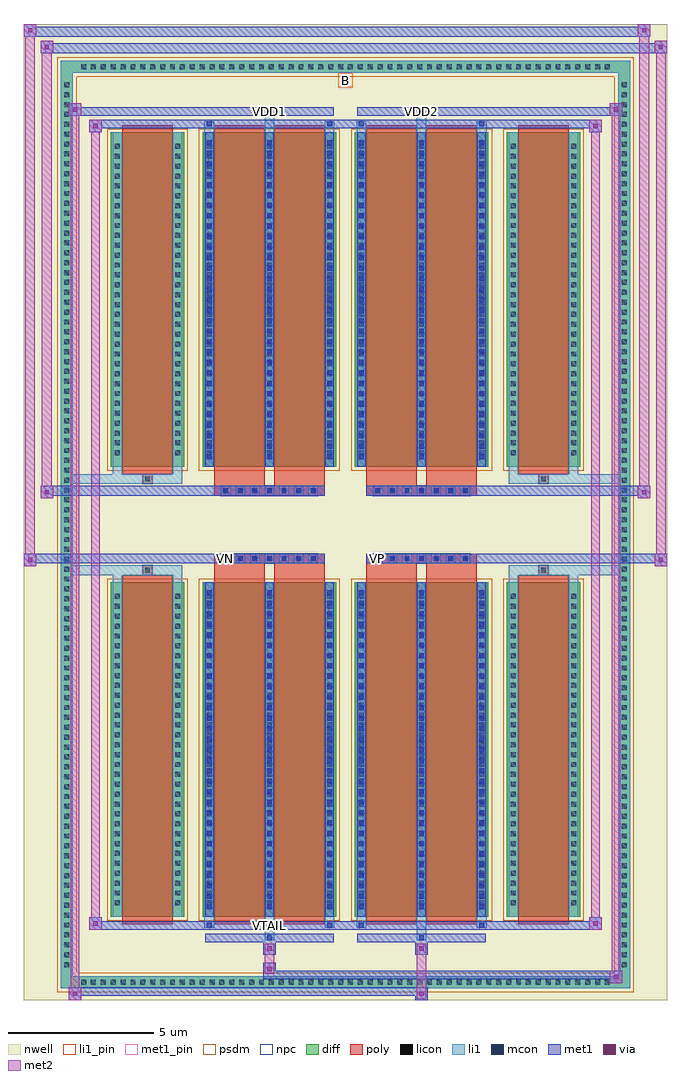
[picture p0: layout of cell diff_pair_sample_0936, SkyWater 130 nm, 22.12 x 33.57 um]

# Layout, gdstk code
import gdstk
lib = gdstk.Library(unit=1e-6, precision=5e-09)
def R(c, l, rs):  # rectangles x0, y0, x1, y1
    for r in rs: c.add(gdstk.rectangle(r[:2], r[2:], *l))
def A(c, l, x, y, w, h, nx, ny, dx, dy):  # array of equal rectangles
    R(c, l, [(x+i*dx, y+j*dy, x+i*dx+w, y+j*dy+h) for i in range(nx) for j in range(ny)])
def P(c, l, *ps):  # polygons
    for p in ps: c.add(gdstk.Polygon(p, *l))
nwell = (64, 20)
diff = (65, 20)
poly = (66, 20)
licon = (66, 44)
li1_pin = (67, 16)
li1 = (67, 20)
mcon = (67, 44)
met1_pin = (68, 16)
met1 = (68, 20)
via = (68, 44)
met2 = (69, 20)
psdm = (94, 20)
npc = (95, 20)

diff_pair_sample_0936 = lib.new_cell('diff_pair_sample_0936')
R(diff_pair_sample_0936, nwell, [(-11.06,-16.35,11.06,17.22), (-8.38,-14.54,-0.01,-0.8), (0.01,-14.54,8.38,-0.8), (-8.38,0.8,-0.01,14.54), (0.01,0.8,8.38,14.54)])
A(diff_pair_sample_0936, diff, -9.215, -15.95, 0.41, 0.41, 54, 2, 0.34, 31.49)
A(diff_pair_sample_0936, diff, -9.79, -15.335, 0.41, 0.41, 1, 90, 0, 0.34)
A(diff_pair_sample_0936, diff, 9.38, -15.335, 0.41, 0.41, 1, 90, 0, 0.34)
R(diff_pair_sample_0936, diff, [(-9.215,-15.95,9.215,-15.54), (-9.79,-15.335,-9.38,15.335), (9.38,-15.335,9.79,15.335), (-8.07,-13.495,-5.55,-1.985), (-4.91,-13.495,-0.32,-1.985), (0.32,-13.495,4.91,-1.985), (5.55,-13.495,8.07,-1.985), (-8.07,1.985,-5.55,13.495), (-4.91,1.985,-0.32,13.495), (0.32,1.985,4.91,13.495), (5.55,1.985,8.07,13.495), (-9.215,15.54,9.215,15.95)])
P(diff_pair_sample_0936, diff, [(9.79,15.95),(-9.79,15.95),(-9.79,-15.54),(-9.38,-15.54),(-9.38,15.54),(9.38,15.54),(9.38,-15.54),(-9.38,-15.54),(-9.79,-15.54),(-9.79,-15.95),(9.79,-15.95)])
A(diff_pair_sample_0936, poly, -4.28, -1.33, 0.33, 0.33, 7, 2, 0.5, 2.33)
A(diff_pair_sample_0936, poly, 0.95, -1.33, 0.33, 0.33, 7, 2, 0.5, 2.33)
R(diff_pair_sample_0936, poly, [(-7.68,-13.745,-5.94,-1.735), (-4.52,-13.745,-2.78,-1.735), (-2.45,-13.745,-0.71,-1.735), (0.71,-13.745,2.45,-1.735), (2.78,-13.745,4.52,-1.735), (5.94,-13.745,7.68,-1.735), (-6.975,-1.735,-6.645,-1.405), (-6.975,-1.735,-6.645,-1.405), (-4.52,-1.735,-2.78,-1.33), (-2.45,-1.735,-0.71,-1.33), (0.71,-1.735,2.45,-1.33), (2.78,-1.735,4.52,-1.33), (6.645,-1.735,6.975,-1.405), (6.645,-1.735,6.975,-1.405), (-4.52,-1.33,-0.71,-1), (0.71,-1.33,4.52,-1), (-4.52,1,-0.71,1.33), (0.71,1,4.52,1.33), (-4.52,1.33,-2.78,1.735), (-2.45,1.33,-0.71,1.735), (0.71,1.33,2.45,1.735), (2.78,1.33,4.52,1.735), (-6.975,1.405,-6.645,1.735), (-6.975,1.405,-6.645,1.735), (6.645,1.405,6.975,1.735), (6.645,1.405,6.975,1.735), (-7.68,1.735,-5.94,13.745), (-4.52,1.735,-2.78,13.745), (-2.45,1.735,-0.71,13.745), (0.71,1.735,2.45,13.745), (2.78,1.735,4.52,13.745), (5.94,1.735,7.68,13.745)])
A(diff_pair_sample_0936, licon, -9.095, -15.83, 0.17, 0.17, 54, 2, 0.34, 31.49)
A(diff_pair_sample_0936, licon, -9.67, -15.215, 0.17, 0.17, 1, 90, 0, 0.34)
A(diff_pair_sample_0936, licon, 9.5, -15.215, 0.17, 0.17, 1, 90, 0, 0.34)
A(diff_pair_sample_0936, licon, -7.93, -13.095, 0.17, 0.17, 1, 32, 0, 0.34)
A(diff_pair_sample_0936, licon, -5.86, -13.095, 0.17, 0.17, 1, 32, 0, 0.34)
A(diff_pair_sample_0936, licon, -4.77, -13.095, 0.17, 0.17, 3, 32, 2.07, 0.34)
A(diff_pair_sample_0936, licon, 0.46, -13.095, 0.17, 0.17, 3, 32, 2.07, 0.34)
A(diff_pair_sample_0936, licon, 5.69, -13.095, 0.17, 0.17, 1, 32, 0, 0.34)
A(diff_pair_sample_0936, licon, 7.76, -13.095, 0.17, 0.17, 1, 32, 0, 0.34)
A(diff_pair_sample_0936, licon, -4.2, -1.25, 0.17, 0.17, 7, 2, 0.5, 2.33)
A(diff_pair_sample_0936, licon, 1.03, -1.25, 0.17, 0.17, 7, 2, 0.5, 2.33)
A(diff_pair_sample_0936, licon, -7.93, 2.385, 0.17, 0.17, 1, 32, 0, 0.34)
A(diff_pair_sample_0936, licon, -5.86, 2.385, 0.17, 0.17, 1, 32, 0, 0.34)
A(diff_pair_sample_0936, licon, -4.77, 2.385, 0.17, 0.17, 3, 32, 2.07, 0.34)
A(diff_pair_sample_0936, licon, 0.46, 2.385, 0.17, 0.17, 3, 32, 2.07, 0.34)
A(diff_pair_sample_0936, licon, 5.69, 2.385, 0.17, 0.17, 1, 32, 0, 0.34)
A(diff_pair_sample_0936, licon, 7.76, 2.385, 0.17, 0.17, 1, 32, 0, 0.34)
R(diff_pair_sample_0936, licon, [(-6.895,-1.655,-6.725,-1.485), (6.725,-1.655,6.895,-1.485), (-6.895,1.485,-6.725,1.655), (6.725,1.485,6.895,1.655)])
R(diff_pair_sample_0936, li1_pin, [(-0.25,15.04,0.25,15.54)])
A(diff_pair_sample_0936, li1, -9.175, -15.91, 0.33, 0.33, 54, 2, 0.34, 31.49)
A(diff_pair_sample_0936, li1, -9.75, -15.295, 0.33, 0.33, 1, 90, 0, 0.34)
A(diff_pair_sample_0936, li1, 9.42, -15.295, 0.33, 0.33, 1, 90, 0, 0.34)
A(diff_pair_sample_0936, li1, -4.85, -13.495, 0.33, 11.51, 3, 2, 2.07, 15.48)
A(diff_pair_sample_0936, li1, 0.38, -13.495, 0.33, 11.51, 3, 2, 2.07, 15.48)
A(diff_pair_sample_0936, li1, -4.77, -13.225, 0.17, 0.17, 3, 31, 2.07, 0.36)
A(diff_pair_sample_0936, li1, -4.77, -13.225, 0.17, 10.97, 3, 2, 2.07, 15.48)
A(diff_pair_sample_0936, li1, 0.46, -13.225, 0.17, 0.17, 3, 31, 2.07, 0.36)
A(diff_pair_sample_0936, li1, 0.46, -13.225, 0.17, 10.97, 3, 2, 2.07, 15.48)
A(diff_pair_sample_0936, li1, -8.01, -13.175, 0.33, 0.33, 1, 32, 0, 0.34)
A(diff_pair_sample_0936, li1, -5.94, -13.175, 0.33, 0.33, 1, 32, 0, 0.34)
A(diff_pair_sample_0936, li1, -4.85, -13.175, 0.33, 0.33, 3, 32, 2.07, 0.34)
A(diff_pair_sample_0936, li1, 0.38, -13.175, 0.33, 0.33, 3, 32, 2.07, 0.34)
A(diff_pair_sample_0936, li1, 5.61, -13.175, 0.33, 0.33, 1, 32, 0, 0.34)
A(diff_pair_sample_0936, li1, 7.68, -13.175, 0.33, 0.33, 1, 32, 0, 0.34)
A(diff_pair_sample_0936, li1, -4.28, -1.33, 0.33, 0.33, 7, 2, 0.5, 2.33)
A(diff_pair_sample_0936, li1, 0.95, -1.33, 0.33, 0.33, 7, 2, 0.5, 2.33)
A(diff_pair_sample_0936, li1, -4.77, 2.255, 0.17, 0.17, 3, 31, 2.07, 0.36)
A(diff_pair_sample_0936, li1, 0.46, 2.255, 0.17, 0.17, 3, 31, 2.07, 0.36)
A(diff_pair_sample_0936, li1, -8.01, 2.305, 0.33, 0.33, 1, 32, 0, 0.34)
A(diff_pair_sample_0936, li1, -5.94, 2.305, 0.33, 0.33, 1, 32, 0, 0.34)
A(diff_pair_sample_0936, li1, -4.85, 2.305, 0.33, 0.33, 3, 32, 2.07, 0.34)
A(diff_pair_sample_0936, li1, 0.38, 2.305, 0.33, 0.33, 3, 32, 2.07, 0.34)
A(diff_pair_sample_0936, li1, 5.61, 2.305, 0.33, 0.33, 1, 32, 0, 0.34)
A(diff_pair_sample_0936, li1, 7.68, 2.305, 0.33, 0.33, 1, 32, 0, 0.34)
R(diff_pair_sample_0936, li1, [(-9.79,-15.95,-9.38,-15.54), (-9.79,-15.95,-9.38,-15.54), (-9.38,-15.95,9.38,-15.54), (9.38,-15.95,9.79,-15.54), (9.38,-15.95,9.79,-15.54), (-9.79,-15.54,-9.38,15.54), (9.38,-15.54,9.79,15.54), (-2.78,-14.3,-2.45,-13.495), (-2.7,-14.3,-2.53,-14.13), (2.45,-14.3,2.78,-13.495), (2.53,-14.3,2.7,-14.13), (-4.85,-13.87,-4.52,-13.495), (-4.77,-13.87,-4.6,-13.7), (-0.71,-13.87,-0.38,-13.495), (-0.63,-13.87,-0.46,-13.7), (0.38,-13.87,0.71,-13.495), (0.46,-13.87,0.63,-13.7), (4.52,-13.87,4.85,-13.495), (4.6,-13.87,4.77,-13.7), (-8.01,-13.495,-7.68,-1.985), (-5.94,-13.495,-5.61,-1.985), (5.61,-13.495,5.94,-1.985), (7.68,-13.495,8.01,-1.985), (-8.01,-1.985,-7.68,-1.405), (-5.94,-1.985,-5.61,-1.405), (5.61,-1.985,5.94,-1.405), (7.68,-1.985,8.01,-1.405), (-9.79,-1.735,-6.975,-1.405), (-8.01,-1.735,-6.975,-1.405), (-6.975,-1.735,-6.645,-1.405), (-6.645,-1.735,-5.61,-1.405), (5.61,-1.735,6.645,-1.405), (6.645,-1.735,6.975,-1.405), (6.645,-1.735,9.79,-1.405), (6.975,-1.735,8.01,-1.405), (-9.79,1.405,-6.975,1.735), (-8.01,1.405,-6.975,1.735), (-8.01,1.405,-7.68,1.985), (-6.975,1.405,-6.645,1.735), (-6.645,1.405,-5.61,1.735), (-5.94,1.405,-5.61,1.985), (5.61,1.405,6.645,1.735), (5.61,1.405,5.94,1.985), (6.645,1.405,6.975,1.735), (6.645,1.405,9.79,1.735), (6.975,1.405,8.01,1.735), (7.68,1.405,8.01,1.985), (-8.01,1.985,-7.68,13.495), (-5.94,1.985,-5.61,13.495), (5.61,1.985,5.94,13.495), (7.68,1.985,8.01,13.495), (-4.85,13.495,-4.52,13.87), (-2.78,13.495,-2.45,14.3), (-0.71,13.495,-0.38,13.87), (0.38,13.495,0.71,13.87), (2.45,13.495,2.78,14.3), (4.52,13.495,4.85,13.87), (-4.77,13.7,-4.6,13.87), (-0.63,13.7,-0.46,13.87), (0.46,13.7,0.63,13.87), (4.6,13.7,4.77,13.87), (-2.7,14.13,-2.53,14.3), (2.53,14.13,2.7,14.3), (-9.79,15.54,-9.38,15.95), (-9.79,15.54,-9.38,15.95), (-9.38,15.54,9.38,15.95), (9.38,15.54,9.79,15.95), (9.38,15.54,9.79,15.95)])
A(diff_pair_sample_0936, mcon, -4.77, -13.225, 0.17, 0.17, 3, 31, 2.07, 0.36)
A(diff_pair_sample_0936, mcon, 0.46, -13.225, 0.17, 0.17, 3, 31, 2.07, 0.36)
A(diff_pair_sample_0936, mcon, -4.2, -1.25, 0.17, 0.17, 7, 2, 0.5, 2.33)
A(diff_pair_sample_0936, mcon, 1.03, -1.25, 0.17, 0.17, 7, 2, 0.5, 2.33)
A(diff_pair_sample_0936, mcon, -4.77, 2.255, 0.17, 0.17, 3, 31, 2.07, 0.36)
A(diff_pair_sample_0936, mcon, 0.46, 2.255, 0.17, 0.17, 3, 31, 2.07, 0.36)
R(diff_pair_sample_0936, mcon, [(-2.7,-14.3,-2.53,-14.13), (2.53,-14.3,2.7,-14.13), (-4.77,-13.87,-4.6,-13.7), (-0.63,-13.87,-0.46,-13.7), (0.46,-13.87,0.63,-13.7), (4.6,-13.87,4.77,-13.7), (-4.77,13.7,-4.6,13.87), (-0.63,13.7,-0.46,13.87), (0.46,13.7,0.63,13.87), (4.6,13.7,4.77,13.87), (-2.7,14.13,-2.53,14.3), (2.53,14.13,2.7,14.3)])
R(diff_pair_sample_0936, met1_pin, [(-2.75,-13.91,-2.48,-13.64), (-4.25,-1.29,-3.98,-1.02), (0.98,-1.29,1.25,-1.02), (-2.75,14.09,-2.48,14.36), (2.48,14.09,2.75,14.36)])
A(diff_pair_sample_0936, met1, -4.83, -13.495, 0.29, 11.51, 3, 2, 2.07, 15.48)
A(diff_pair_sample_0936, met1, 0.4, -13.495, 0.29, 11.51, 3, 2, 2.07, 15.48)
A(diff_pair_sample_0936, met1, -4.83, -13.285, 0.29, 0.29, 3, 31, 2.07, 0.36)
A(diff_pair_sample_0936, met1, 0.4, -13.285, 0.29, 0.29, 3, 31, 2.07, 0.36)
A(diff_pair_sample_0936, met1, -4.26, -1.31, 0.29, 0.29, 7, 2, 0.5, 2.33)
A(diff_pair_sample_0936, met1, 0.97, -1.31, 0.29, 0.29, 7, 2, 0.5, 2.33)
A(diff_pair_sample_0936, met1, -4.83, 2.195, 0.29, 0.29, 3, 31, 2.07, 0.36)
A(diff_pair_sample_0936, met1, 0.4, 2.195, 0.29, 0.29, 3, 31, 2.07, 0.36)
R(diff_pair_sample_0936, met1, [(-9.52,-16.35,-9.09,-15.92), (2.4,-16.35,2.83,-15.92), (-9.52,-16.21,2.83,-15.92), (9.09,-15.78,9.52,-15.35), (-2.83,-15.64,9.52,-15.35), (-2.83,-15.5,-2.4,-15.07), (-2.83,-14.79,-2.4,-14.36), (2.4,-14.79,2.83,-14.36), (-4.83,-14.36,-0.4,-14.07), (-2.76,-14.36,-2.47,-14.07), (0.4,-14.36,4.83,-14.07), (2.47,-14.36,2.76,-14.07), (-8.81,-13.93,-8.38,-13.5), (-8.81,-13.93,-4.83,-13.64), (-4.83,-13.93,-4.54,-13.64), (-4.83,-13.93,-0.4,-13.64), (-0.69,-13.93,-0.4,-13.64), (-0.4,-13.93,0.4,-13.64), (0.4,-13.93,0.69,-13.64), (0.4,-13.93,4.83,-13.64), (4.54,-13.93,4.83,-13.64), (4.83,-13.93,8.81,-13.64), (8.38,-13.93,8.81,-13.5), (-11.06,-1.43,-10.63,-1), (10.63,-1.43,11.06,-1), (-11.06,-1.33,-0.71,-1), (-4.52,-1.33,-0.71,-1), (0.71,-1.33,4.52,-1), (0.71,-1.33,11.06,-1), (-10.49,0.9,-10.06,1.33), (10.06,0.9,10.49,1.33), (-10.49,1,-4.52,1.33), (-4.52,1,-0.71,1.33), (0.71,1,4.52,1.33), (4.52,1,10.49,1.33), (-8.81,13.5,-8.38,13.93), (8.38,13.5,8.81,13.93), (-8.81,13.64,-4.83,13.93), (-4.83,13.64,-4.54,13.93), (-4.83,13.64,-0.4,13.93), (-0.69,13.64,-0.4,13.93), (-0.4,13.64,0.4,13.93), (0.4,13.64,0.69,13.93), (0.4,13.64,4.83,13.93), (4.54,13.64,4.83,13.93), (4.83,13.64,8.81,13.93), (-9.52,14.07,-9.09,14.5), (-9.52,14.07,-4.83,14.36), (-4.83,14.07,-0.4,14.36), (-2.76,14.07,-2.47,14.36), (0.4,14.07,4.83,14.36), (2.47,14.07,2.76,14.36), (4.83,14.07,9.52,14.36), (9.09,14.07,9.52,14.5), (-10.49,16.22,-10.06,16.65), (-10.49,16.22,-8.38,16.55), (-8.38,16.22,8.38,16.55), (8.38,16.22,11.06,16.55), (10.63,16.22,11.06,16.65), (-11.06,16.79,-10.63,17.22), (-11.06,16.79,-8.38,17.12), (-8.38,16.79,8.38,17.12), (8.38,16.79,10.49,17.12), (10.06,16.79,10.49,17.22)])
R(diff_pair_sample_0936, via, [(-9.38,-16.21,-9.23,-16.06), (2.54,-16.21,2.69,-16.06), (9.23,-15.64,9.38,-15.49), (-2.69,-15.36,-2.54,-15.21), (-2.69,-14.65,-2.54,-14.5), (2.54,-14.65,2.69,-14.5), (-8.67,-13.79,-8.52,-13.64), (8.52,-13.79,8.67,-13.64), (-10.92,-1.29,-10.77,-1.14), (10.77,-1.29,10.92,-1.14), (-10.35,1.04,-10.2,1.19), (10.2,1.04,10.35,1.19), (-8.67,13.64,-8.52,13.79), (8.52,13.64,8.67,13.79), (-9.38,14.21,-9.23,14.36), (9.23,14.21,9.38,14.36), (-10.35,16.36,-10.2,16.51), (10.77,16.36,10.92,16.51), (-10.92,16.93,-10.77,17.08), (10.2,16.93,10.35,17.08)])
R(diff_pair_sample_0936, met2, [(-9.52,-16.35,-9.09,-15.92), (-9.45,-16.35,-9.16,14.5), (-9.16,-16.35,-9.09,-15.92), (-9.47,-16.3,-9.14,-15.97), (2.45,-16.3,2.78,-15.97), (2.45,-15.97,2.78,-14.74), (9.09,-15.78,9.52,-15.35), (9.16,-15.78,9.45,14.5), (9.45,-15.78,9.52,-15.35), (9.14,-15.73,9.47,-15.4), (-2.78,-15.45,-2.45,-15.12), (-2.78,-15.12,-2.45,-14.74), (-2.78,-14.74,-2.45,-14.41), (2.45,-14.74,2.78,-14.41), (-8.81,-13.93,-8.38,-13.5), (-8.74,-13.93,-8.45,13.93), (-8.45,-13.93,-8.38,-13.5), (8.38,-13.93,8.81,-13.5), (8.45,-13.93,8.74,13.93), (8.74,-13.93,8.81,-13.5), (-8.76,-13.88,-8.43,-13.55), (8.43,-13.88,8.76,-13.55), (-11.06,-1.43,-10.63,-1), (-11.01,-1.43,-10.68,17.22), (-10.68,-1.43,-10.63,-1), (10.63,-1.43,11.06,-1), (10.68,-1.43,11.01,16.65), (11.01,-1.43,11.06,-1), (-11.01,-1.38,-10.68,-1.05), (10.68,-1.38,11.01,-1.05), (-10.49,0.9,-10.06,1.33), (-10.44,0.9,-10.11,16.65), (-10.11,0.9,-10.06,1.33), (10.06,0.9,10.49,1.33), (10.11,0.9,10.44,17.22), (10.44,0.9,10.49,1.33), (-10.44,0.95,-10.11,1.28), (10.11,0.95,10.44,1.28), (-8.81,13.5,-8.38,13.93), (-8.45,13.5,-8.38,13.93), (8.38,13.5,8.81,13.93), (8.74,13.5,8.81,13.93), (-8.76,13.55,-8.43,13.88), (8.43,13.55,8.76,13.88), (-9.52,14.07,-9.09,14.5), (-9.16,14.07,-9.09,14.5), (9.09,14.07,9.52,14.5), (9.45,14.07,9.52,14.5), (-9.47,14.12,-9.14,14.45), (9.14,14.12,9.47,14.45), (-10.49,16.22,-10.06,16.65), (-10.11,16.22,-10.06,16.65), (10.63,16.22,11.06,16.65), (11.01,16.22,11.06,16.65), (-10.44,16.27,-10.11,16.6), (10.68,16.27,11.01,16.6), (-11.06,16.79,-10.63,17.22), (-10.68,16.79,-10.63,17.22), (10.06,16.79,10.49,17.22), (10.44,16.79,10.49,17.22), (-11.01,16.84,-10.68,17.17), (10.11,16.84,10.44,17.17)])
R(diff_pair_sample_0936, psdm, [(-8.2,-13.625,-5.42,-1.855), (-5.04,-13.625,-0.19,-1.855), (0.19,-13.625,5.04,-1.855), (5.42,-13.625,8.2,-1.855), (-8.2,1.855,-5.42,13.625), (-5.04,1.855,-0.19,13.625), (0.19,1.855,5.04,13.625), (5.42,1.855,8.2,13.625)])
P(diff_pair_sample_0936, psdm, [(9.92,16.08),(-9.92,16.08),(-9.92,-15.41),(-9.25,-15.41),(-9.25,15.41),(9.25,15.41),(9.25,-15.41),(-9.25,-15.41),(-9.92,-15.41),(-9.92,-16.08),(9.92,-16.08)])
A(diff_pair_sample_0936, npc, -4.3, -1.35, 0.37, 0.37, 7, 2, 0.5, 2.33)
A(diff_pair_sample_0936, npc, 0.93, -1.35, 0.37, 0.37, 7, 2, 0.5, 2.33)
R(diff_pair_sample_0936, npc, [(-6.995,-1.755,-6.625,-1.385), (6.625,-1.755,6.995,-1.385), (-4.3,-1.35,-3.43,-0.98), (-4.3,-1.35,-3.43,-0.98), (-3.8,-1.35,-2.93,-0.98), (-3.8,-1.35,-2.93,-0.98), (-3.3,-1.35,-2.43,-0.98), (-3.3,-1.35,-2.43,-0.98), (-2.8,-1.35,-1.93,-0.98), (-2.8,-1.35,-1.93,-0.98), (-2.3,-1.35,-1.43,-0.98), (-2.3,-1.35,-1.43,-0.98), (-1.8,-1.35,-0.93,-0.98), (-1.8,-1.35,-0.93,-0.98), (0.93,-1.35,1.8,-0.98), (0.93,-1.35,1.8,-0.98), (1.43,-1.35,2.3,-0.98), (1.43,-1.35,2.3,-0.98), (1.93,-1.35,2.8,-0.98), (1.93,-1.35,2.8,-0.98), (2.43,-1.35,3.3,-0.98), (2.43,-1.35,3.3,-0.98), (2.93,-1.35,3.8,-0.98), (2.93,-1.35,3.8,-0.98), (3.43,-1.35,4.3,-0.98), (3.43,-1.35,4.3,-0.98), (-4.3,0.98,-3.43,1.35), (-4.3,0.98,-3.43,1.35), (-3.8,0.98,-2.93,1.35), (-3.8,0.98,-2.93,1.35), (-3.3,0.98,-2.43,1.35), (-3.3,0.98,-2.43,1.35), (-2.8,0.98,-1.93,1.35), (-2.8,0.98,-1.93,1.35), (-2.3,0.98,-1.43,1.35), (-2.3,0.98,-1.43,1.35), (-1.8,0.98,-0.93,1.35), (-1.8,0.98,-0.93,1.35), (0.93,0.98,1.8,1.35), (0.93,0.98,1.8,1.35), (1.43,0.98,2.3,1.35), (1.43,0.98,2.3,1.35), (1.93,0.98,2.8,1.35), (1.93,0.98,2.8,1.35), (2.43,0.98,3.3,1.35), (2.43,0.98,3.3,1.35), (2.93,0.98,3.8,1.35), (2.93,0.98,3.8,1.35), (3.43,0.98,4.3,1.35), (3.43,0.98,4.3,1.35), (-6.995,1.385,-6.625,1.755), (6.625,1.385,6.995,1.755)])
diff_pair_sample_0936.add(gdstk.Label('VTAIL', (-2.615,-13.775), layer=68, texttype=5))
diff_pair_sample_0936.add(gdstk.Label('VN', (-4.115,-1.155), layer=68, texttype=5))
diff_pair_sample_0936.add(gdstk.Label('VP', (1.115,-1.155), layer=68, texttype=5))
diff_pair_sample_0936.add(gdstk.Label('B', (0,15.29), layer=67, texttype=5))
diff_pair_sample_0936.add(gdstk.Label('VDD2', (2.615,14.225), layer=68, texttype=5))
diff_pair_sample_0936.add(gdstk.Label('VDD1', (-2.615,14.225), layer=68, texttype=5))

lib.write_gds('diff_pair_sample_0936.gds')
